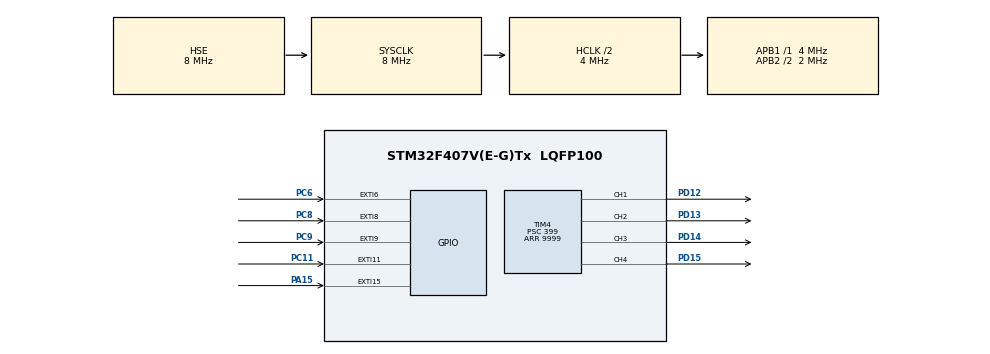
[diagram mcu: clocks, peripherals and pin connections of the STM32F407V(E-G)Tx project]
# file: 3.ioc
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Mcu.Family=STM32F4
Mcu.Name=STM32F407V(E-G)Tx
Mcu.Package=LQFP100
NVIC.EXTI15_10_IRQn=true\:0\:0\:false\:false\:true\:true\:true
NVIC.EXTI9_5_IRQn=true\:0\:0\:false\:false\:true\:true\:true
NVIC.PriorityGroup=NVIC_PRIORITYGROUP_4
NVIC.RCC_IRQn=true\:0\:0\:false\:false\:true\:true\:false
NVIC.TIM4_IRQn=true\:0\:0\:false\:false\:true\:true\:true
PA15.GPIO_ModeDefaultEXTI=GPIO_MODE_IT_FALLING
PA15.Signal=GPXTI15
PC11.GPIO_ModeDefaultEXTI=GPIO_MODE_IT_FALLING
PC11.Signal=GPXTI11
PC6.GPIO_ModeDefaultEXTI=GPIO_MODE_IT_FALLING
PC6.Signal=GPXTI6
PC8.GPIO_ModeDefaultEXTI=GPIO_MODE_IT_FALLING
PC8.Signal=GPXTI8
PC9.GPIO_ModeDefaultEXTI=GPIO_MODE_IT_FALLING
PC9.Signal=GPXTI9
PD12.GPIO_Speed=GPIO_SPEED_FREQ_HIGH
PD12.Signal=S_TIM4_CH1
PD13.GPIO_Speed=GPIO_SPEED_FREQ_HIGH
PD13.Signal=S_TIM4_CH2
PD14.GPIO_Speed=GPIO_SPEED_FREQ_HIGH
PD14.Signal=S_TIM4_CH3
PD15.GPIO_Speed=GPIO_SPEED_FREQ_HIGH
PD15.Signal=S_TIM4_CH4
PH0-OSC_IN.Mode=HSE-External-Oscillator
PH0-OSC_IN.Signal=RCC_OSC_IN
PH1-OSC_OUT.Mode=HSE-External-Oscillator
PH1-OSC_OUT.Signal=RCC_OSC_OUT
ProjectManager.HeapSize=0x200
ProjectManager.StackSize=0x400
ProjectManager.TargetToolchain=STM32CubeIDE
RCC.48MHZClocksFreq_Value=16000000
RCC.AHBCLKDivider=RCC_SYSCLK_DIV2
RCC.AHBFreq_Value=4000000
RCC.APB1Freq_Value=4000000
RCC.APB1TimFreq_Value=4000000
RCC.APB2CLKDivider=RCC_HCLK_DIV2
RCC.APB2Freq_Value=2000000
RCC.APB2TimFreq_Value=4000000
RCC.CortexFreq_Value=4000000
RCC.EnbaleCSS=true
RCC.HCLKFreq_Value=4000000
RCC.HSE_VALUE=8000000
RCC.HSI_VALUE=16000000
RCC.LSE_VALUE=32768
RCC.PLLM=8
RCC.PLLN=64
RCC.PLLSourceVirtual=RCC_PLLSOURCE_HSE
RCC.SYSCLKFreq_VALUE=8000000
RCC.SYSCLKSource=RCC_SYSCLKSOURCE_HSE
RCC.VCOOutputFreq_Value=64000000
SH.S_TIM4_CH1.0=TIM4_CH1,PWM Generation1 CH1
SH.S_TIM4_CH2.0=TIM4_CH2,PWM Generation2 CH2
SH.S_TIM4_CH3.0=TIM4_CH3,PWM Generation3 CH3
SH.S_TIM4_CH4.0=TIM4_CH4,PWM Generation4 CH4
TIM4.AutoReloadPreload=TIM_AUTORELOAD_PRELOAD_ENABLE
TIM4.Channel-PWM\ Generation1\ CH1=TIM_CHANNEL_1
TIM4.Channel-PWM\ Generation2\ CH2=TIM_CHANNEL_2
TIM4.Channel-PWM\ Generation3\ CH3=TIM_CHANNEL_3
TIM4.Channel-PWM\ Generation4\ CH4=TIM_CHANNEL_4
TIM4.OC2Preload_PWM=ENABLE
TIM4.Period=9999
TIM4.Prescaler=399
TIM4.Pulse-PWM\ Generation1\ CH1=5000
TIM4.Pulse-PWM\ Generation2\ CH2=5000
TIM4.Pulse-PWM\ Generation3\ CH3=500
TIM4.Pulse-PWM\ Generation4\ CH4=500
board=custom

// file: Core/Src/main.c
/* USER CODE BEGIN Header */
/**
  ******************************************************************************
  * @file           : main.c
  * @brief          : Main program body
  ******************************************************************************
  * @attention
  *
  * <h2><center>&copy; Copyright (c) 2021 STMicroelectronics.
  * All rights reserved.</center></h2>
  *
  * This software component is licensed by ST under BSD 3-Clause license,
  * the "License"; You may not use this file except in compliance with the
  * License. You may obtain a copy of the License at:
  *                        opensource.org/licenses/BSD-3-Clause
  *
  ******************************************************************************
  */
/* USER CODE END Header */
#include "main.h"

/* USER CODE BEGIN PD */
#define GET_PSC(x, y) ((x)/(y))
/* USER CODE END PD */

TIM_HandleTypeDef htim4;

/* USER CODE BEGIN PV */
static const uint16_t main_freq = 4000;// real apb1 freq/1000
static uint8_t curr_freq = 10; //real timer freq/1000
static uint16_t pulse[4] = {5000, 5000, 5000, 5000};
static uint16_t psc;
static enum States {
	Off,
	Green,
	Orange,
	Red,
	Blue
}state = 1;
/* USER CODE END PV */

void SystemClock_Config(void);
static void MX_GPIO_Init(void);
static void MX_TIM4_Init(void);
/* USER CODE BEGIN PFP */

void HAL_GPIO_EXTI_Callback(uint16_t GPIO_Pin) {
	  switch (GPIO_Pin) {
	  	  case GPIO_PIN_11:
	  		  if (curr_freq == 251) {
	  			curr_freq = 1;
	  			break;
	  		  }
	  		  curr_freq += 5;
	  		  break;
	  	  case GPIO_PIN_9:
	  		  if (curr_freq == 1) {
	  			curr_freq = 251;
	  			break;
	  		  }
	  		  curr_freq -= 5;
	  		  break;
	  	  case GPIO_PIN_6:
	  		  if (pulse[state-1] == 10000) {
	  			pulse[state-1] = 0;
	  			break;
	  		  }
	  		  pulse[state-1] += 500;
	  		  break;
	  	  case GPIO_PIN_8:
	  		  if (pulse[state-1] == 0) {
	  			pulse[state-1] = 10000;
	  			break;
	  		  }
	  		  pulse[state-1] -= 500;
	  		break;
	  	  case GPIO_PIN_15:
	  		  if (state == 4) {
	  			  state = 0;
	  			  break;
	  		  }
	  		  ++state;
	  		  break;
	  }
	  psc = GET_PSC(main_freq, curr_freq) - 1;
  }
/* USER CODE END PFP */

int main(void)
{

  /* MCU Configuration--------------------------------------------------------*/

  /* Reset of all peripherals, Initializes the Flash interface and the Systick. */
  HAL_Init();

  /* Configure the system clock */
  SystemClock_Config();

  /* Initialize all configured peripherals */
  MX_GPIO_Init();
  MX_TIM4_Init();
  /* USER CODE BEGIN 2 */

  psc = GET_PSC(main_freq, curr_freq) - 1;
  /* USER CODE END 2 */

  /* Infinite loop */
  /* USER CODE BEGIN WHILE */
  while (1)
  {
	  TIM4->PSC = psc;
	  TIM4->CCR1 = pulse[0];
	  TIM4->CCR2 = pulse[1];
	  TIM4->CCR3 = pulse[2];
	  TIM4->CCR4 = pulse[3];
	  switch (state) {
	  	  	  case Green:
	  	  		  HAL_TIM_PWM_Start(&htim4, TIM_CHANNEL_1);
	  	  		  break;
	  	  	  case Orange:
	  	  		  HAL_TIM_PWM_Stop(&htim4, TIM_CHANNEL_1);
	  	  		  HAL_TIM_PWM_Start(&htim4, TIM_CHANNEL_2);
	  	  		  break;
	  	  	  case Red:
	  	  		  HAL_TIM_PWM_Stop(&htim4, TIM_CHANNEL_2);
	  	  		  HAL_TIM_PWM_Start(&htim4, TIM_CHANNEL_3);
	  	  		  break;
	  	  	  case Blue:
	  	  		  HAL_TIM_PWM_Stop(&htim4, TIM_CHANNEL_3);
	  	  		  HAL_TIM_PWM_Start(&htim4, TIM_CHANNEL_4);
	  	  		  break;
	  	  	  case Off:
	  	  		  HAL_TIM_PWM_Stop(&htim4, TIM_CHANNEL_4);
	  	  		  break;
	  	  }
    /* USER CODE END WHILE */

  }
}

void SystemClock_Config(void)
{
  RCC_OscInitTypeDef RCC_OscInitStruct = {0};
  RCC_ClkInitTypeDef RCC_ClkInitStruct = {0};

  /** Configure the main internal regulator output voltage
  */
  __HAL_RCC_PWR_CLK_ENABLE();
  __HAL_PWR_VOLTAGESCALING_CONFIG(PWR_REGULATOR_VOLTAGE_SCALE1);
  /** Initializes the RCC Oscillators according to the specified parameters
  * in the RCC_OscInitTypeDef structure.
  */
  RCC_OscInitStruct.OscillatorType = RCC_OSCILLATORTYPE_HSE;
  RCC_OscInitStruct.HSEState = RCC_HSE_ON;
  RCC_OscInitStruct.PLL.PLLState = RCC_PLL_NONE;
  if (HAL_RCC_OscConfig(&RCC_OscInitStruct) != HAL_OK)
  {
    Error_Handler();
  }
  /** Initializes the CPU, AHB and APB buses clocks
  */
  RCC_ClkInitStruct.ClockType = RCC_CLOCKTYPE_HCLK|RCC_CLOCKTYPE_SYSCLK
                              |RCC_CLOCKTYPE_PCLK1|RCC_CLOCKTYPE_PCLK2;
  RCC_ClkInitStruct.SYSCLKSource = RCC_SYSCLKSOURCE_HSE;
  RCC_ClkInitStruct.AHBCLKDivider = RCC_SYSCLK_DIV2;
  RCC_ClkInitStruct.APB1CLKDivider = RCC_HCLK_DIV1;
  RCC_ClkInitStruct.APB2CLKDivider = RCC_HCLK_DIV2;

  if (HAL_RCC_ClockConfig(&RCC_ClkInitStruct, FLASH_LATENCY_0) != HAL_OK)
  {
    Error_Handler();
  }
  /** Enables the Clock Security System
  */
  HAL_RCC_EnableCSS();
}

static void MX_TIM4_Init(void)
{

  TIM_MasterConfigTypeDef sMasterConfig = {0};
  TIM_OC_InitTypeDef sConfigOC = {0};

  htim4.Instance = TIM4;
  htim4.Init.Prescaler = 399;
  htim4.Init.CounterMode = TIM_COUNTERMODE_UP;
  htim4.Init.Period = 9999;
  htim4.Init.ClockDivision = TIM_CLOCKDIVISION_DIV1;
  htim4.Init.AutoReloadPreload = TIM_AUTORELOAD_PRELOAD_ENABLE;
  if (HAL_TIM_PWM_Init(&htim4) != HAL_OK)
  {
    Error_Handler();
  }
  sMasterConfig.MasterOutputTrigger = TIM_TRGO_RESET;
  sMasterConfig.MasterSlaveMode = TIM_MASTERSLAVEMODE_DISABLE;
  if (HAL_TIMEx_MasterConfigSynchronization(&htim4, &sMasterConfig) != HAL_OK)
  {
    Error_Handler();
  }
  sConfigOC.OCMode = TIM_OCMODE_PWM1;
  sConfigOC.Pulse = 5000;
  sConfigOC.OCPolarity = TIM_OCPOLARITY_HIGH;
  sConfigOC.OCFastMode = TIM_OCFAST_DISABLE;
  if (HAL_TIM_PWM_ConfigChannel(&htim4, &sConfigOC, TIM_CHANNEL_1) != HAL_OK)
  {
    Error_Handler();
  }
  if (HAL_TIM_PWM_ConfigChannel(&htim4, &sConfigOC, TIM_CHANNEL_2) != HAL_OK)
  {
    Error_Handler();
  }
  sConfigOC.Pulse = 500;
  if (HAL_TIM_PWM_ConfigChannel(&htim4, &sConfigOC, TIM_CHANNEL_3) != HAL_OK)
  {
    Error_Handler();
  }
  if (HAL_TIM_PWM_ConfigChannel(&htim4, &sConfigOC, TIM_CHANNEL_4) != HAL_OK)
  {
    Error_Handler();
  }
  HAL_TIM_MspPostInit(&htim4);

}

static void MX_GPIO_Init(void)
{
  GPIO_InitTypeDef GPIO_InitStruct = {0};

  /* GPIO Ports Clock Enable */
  __HAL_RCC_GPIOH_CLK_ENABLE();
  __HAL_RCC_GPIOD_CLK_ENABLE();
  __HAL_RCC_GPIOC_CLK_ENABLE();
  __HAL_RCC_GPIOA_CLK_ENABLE();

  /*Configure GPIO pins : PC6 PC8 PC9 PC11 */
  GPIO_InitStruct.Pin = GPIO_PIN_6|GPIO_PIN_8|GPIO_PIN_9|GPIO_PIN_11;
  GPIO_InitStruct.Mode = GPIO_MODE_IT_FALLING;
  GPIO_InitStruct.Pull = GPIO_NOPULL;
  HAL_GPIO_Init(GPIOC, &GPIO_InitStruct);

  /*Configure GPIO pin : PA15 */
  GPIO_InitStruct.Pin = GPIO_PIN_15;
  GPIO_InitStruct.Mode = GPIO_MODE_IT_FALLING;
  GPIO_InitStruct.Pull = GPIO_NOPULL;
  HAL_GPIO_Init(GPIOA, &GPIO_InitStruct);

  /* EXTI interrupt init*/
  HAL_NVIC_SetPriority(EXTI9_5_IRQn, 0, 0);
  HAL_NVIC_EnableIRQ(EXTI9_5_IRQn);

  HAL_NVIC_SetPriority(EXTI15_10_IRQn, 0, 0);
  HAL_NVIC_EnableIRQ(EXTI15_10_IRQn);

}

void Error_Handler(void)
{
  __disable_irq();
  while (1)
  {
  }
}

/************************ (C) COPYRIGHT STMicroelectronics *****END OF FILE****/
